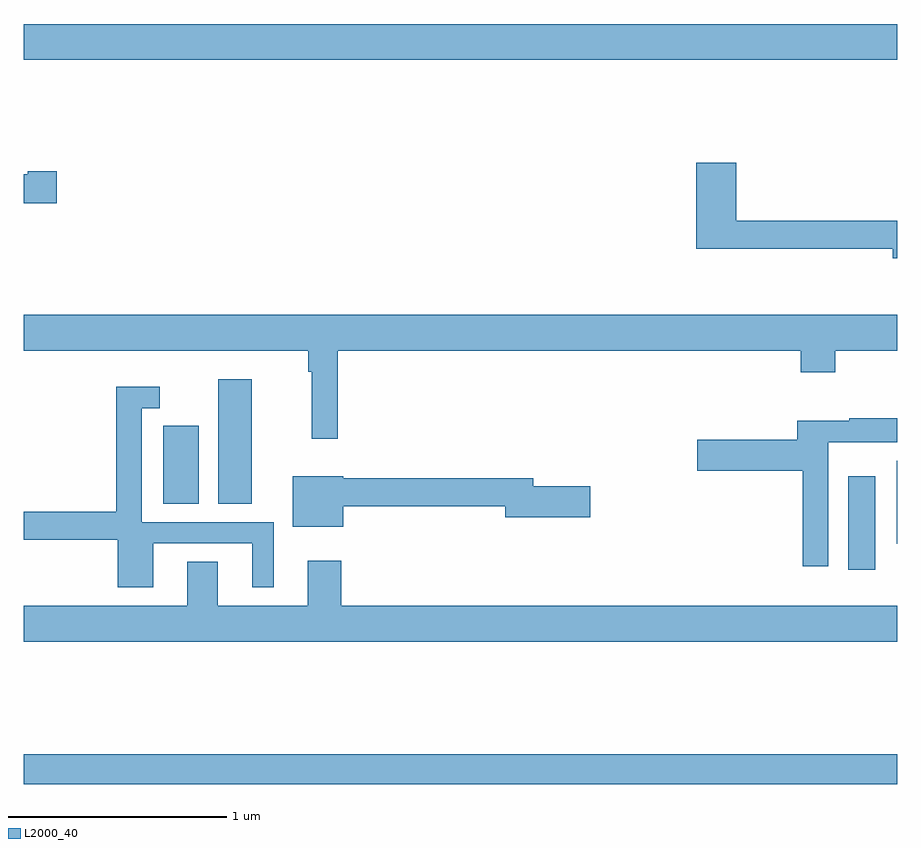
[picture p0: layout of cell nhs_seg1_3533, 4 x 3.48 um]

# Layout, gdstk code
import gdstk
lib = gdstk.Library(unit=1e-6, precision=1e-09)
def R(c, l, rs):  # rectangles x0, y0, x1, y1
    for r in rs: c.add(gdstk.rectangle(r[:2], r[2:], *l))
def P(c, l, *ps):  # polygons
    for p in ps: c.add(gdstk.Polygon(p, *l))
L2000_40 = (2000, 40)

nhs_seg1_3533 = lib.new_cell('nhs_seg1_3533')
R(nhs_seg1_3533, L2000_40, [(303,544.42,307,544.556), (306.776,545.4,306.898,545.83), (306.998,545.52,307,545.9), (303.638,545.704,303.802,546.061), (303.89,545.704,304.045,546.274), (303,547.736,307,547.9)])
P(nhs_seg1_3533, L2000_40, [(307,546.998),(306.263,546.998),(306.263,547.264),(306.08,547.264),(306.08,546.87),(306.98,546.87),(306.98,546.827),(307,546.827)],
  [(303.151,547.226),(303.018,547.226),(303.018,547.213),(303,547.213),(303,547.079),(303.151,547.079)],
  [(304.439,546.404),(306.557,546.404),(306.557,546.305),(306.717,546.305),(306.717,546.404),(307,546.404),(307,546.568),(303,546.568),(303,546.404),(304.303,546.404),(304.303,546.308),(304.318,546.308),(304.318,546),(304.439,546)],
  [(303.592,545.523),(304.046,545.523),(304.046,545.322),(304.144,545.322),(304.144,545.619),(303.54,545.619),(303.54,546.141),(303.622,546.141),(303.622,546.238),(303.424,546.238),(303.424,545.666),(303,545.666),(303,545.538),(303.431,545.538),(303.431,545.322),(303.592,545.322)],
  [(306.684,545.984),(306.894,545.984),(306.894,545.985),(307,545.985),(307,546.094),(306.781,546.094),(306.781,546.084),(306.542,546.084),(306.542,545.997),(306.084,545.997),(306.084,545.855),(306.568,545.855),(306.568,545.418),(306.684,545.418)],
  [(304.462,545.691),(305.204,545.691),(305.204,545.641),(305.593,545.641),(305.593,545.783),(305.332,545.783),(305.332,545.819),(304.462,545.819),(304.462,545.83),(304.232,545.83),(304.232,545.597),(304.462,545.597)],
  [(307,545.236),(304.454,545.236),(304.454,545.443),(304.301,545.443),(304.301,545.236),(303.889,545.236),(303.889,545.438),(303.749,545.438),(303.749,545.236),(303,545.236),(303,545.072),(307,545.072)])

lib.write_gds('nhs_seg1_3533.gds')
